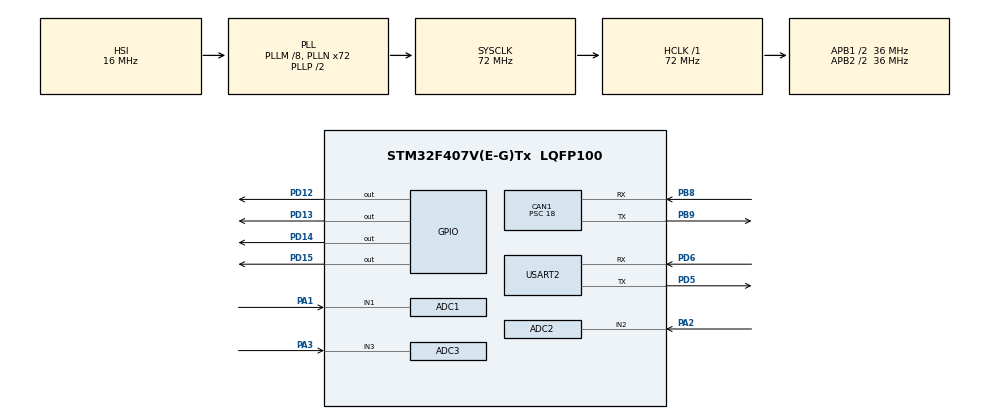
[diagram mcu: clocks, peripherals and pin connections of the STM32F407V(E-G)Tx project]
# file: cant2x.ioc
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ADC1.Channel-1\#ChannelRegularConversion=ADC_CHANNEL_1
ADC1.NbrOfConversionFlag=1
ADC1.Rank-1\#ChannelRegularConversion=1
ADC1.SamplingTime-1\#ChannelRegularConversion=ADC_SAMPLETIME_3CYCLES
ADC1.master=1
ADC2.Channel-1\#ChannelRegularConversion=ADC_CHANNEL_2
ADC2.NbrOfConversionFlag=1
ADC2.Rank-1\#ChannelRegularConversion=1
ADC2.SamplingTime-1\#ChannelRegularConversion=ADC_SAMPLETIME_3CYCLES
ADC3.Channel-2\#ChannelRegularConversion=ADC_CHANNEL_3
ADC3.NbrOfConversionFlag=1
ADC3.Rank-2\#ChannelRegularConversion=1
ADC3.SamplingTime-2\#ChannelRegularConversion=ADC_SAMPLETIME_3CYCLES
CAN1.CalculateBaudRate=666666
CAN1.CalculateTimeBit=1500
CAN1.CalculateTimeQuantum=500.0
CAN1.Prescaler=18
Mcu.Family=STM32F4
Mcu.Name=STM32F407V(E-G)Tx
Mcu.Package=LQFP100
NVIC.CAN1_RX0_IRQn=true\:0\:0\:false\:false\:true\:true\:true\:true
NVIC.PriorityGroup=NVIC_PRIORITYGROUP_0
PA1.Signal=ADCx_IN1
PA2.Signal=ADCx_IN2
PA3.Signal=ADCx_IN3
PB8.Mode=CAN_Activate
PB8.Signal=CAN1_RX
PB9.Mode=CAN_Activate
PB9.Signal=CAN1_TX
PD12.Signal=GPIO_Output
PD13.Signal=GPIO_Output
PD14.Signal=GPIO_Output
PD15.Signal=GPIO_Output
PD5.Mode=Asynchronous
PD5.Signal=USART2_TX
PD6.Mode=Asynchronous
PD6.Signal=USART2_RX
ProjectManager.HeapSize=0x200
ProjectManager.StackSize=0x400
ProjectManager.TargetToolchain=STM32CubeIDE
RCC.48MHZClocksFreq_Value=20571428.57142857
RCC.AHBFreq_Value=72000000
RCC.APB1CLKDivider=RCC_HCLK_DIV2
RCC.APB1Freq_Value=36000000
RCC.APB1TimFreq_Value=72000000
RCC.APB2CLKDivider=RCC_HCLK_DIV2
RCC.APB2Freq_Value=36000000
RCC.APB2TimFreq_Value=72000000
RCC.CortexFreq_Value=72000000
RCC.HCLKFreq_Value=72000000
RCC.HSE_VALUE=8000000
RCC.HSI_VALUE=16000000
RCC.LSE_VALUE=32768
RCC.PLLM=8
RCC.PLLN=72
RCC.PLLQ=7
RCC.SYSCLKFreq_VALUE=72000000
RCC.SYSCLKSource=RCC_SYSCLKSOURCE_PLLCLK
RCC.VCOOutputFreq_Value=144000000
SH.ADCx_IN1.0=ADC1_IN1,IN1
SH.ADCx_IN1.1=ADC3_IN1
SH.ADCx_IN2.0=ADC3_IN2
SH.ADCx_IN2.1=ADC2_IN2,IN2
SH.ADCx_IN3.0=ADC3_IN3,IN3
USART2.VirtualMode=VM_ASYNC
board=STM32F407G-DISC1

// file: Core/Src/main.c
/* /* Includes ------------------------------------------------------------------*/
#include "main.h"

ADC_HandleTypeDef hadc1;
ADC_HandleTypeDef hadc2;
ADC_HandleTypeDef hadc3;

CAN_HandleTypeDef hcan1;

UART_HandleTypeDef huart2;

/* USER CODE BEGIN PV */
int flame_Flag = 0, mq2_Flag = 0, lm35_Flag = 0;
CAN_TxHeaderTypeDef TxHeader;
uint8_t TxData[8];
uint32_t TxMailBox;
/* USER CODE END PV */

void MX_GPIO_Init(void);
void SystemClock_Config(void);
void MX_ADC1_Init(void);
void MX_ADC2_Init(void);
void MX_ADC3_Init(void);
void MX_CAN1_Init(void);
void MX_USART2_UART_Init(void);

int main(void)
{

  /* MCU Configuration--------------------------------------------------------*/

  /* Reset of all peripherals, Initializes the Flash interface and the Systick. */
  HAL_Init();

  /* Configure the system clock */
  SystemClock_Config();

  /* Initialize all configured peripherals */
  MX_GPIO_Init();
  MX_ADC1_Init();
  MX_ADC2_Init();
  MX_ADC3_Init();
  MX_CAN1_Init();
  MX_USART2_UART_Init();
  /* USER CODE BEGIN 2 */
  HAL_CAN_Start(&hcan1);
  HAL_CAN_ActivateNotification(&hcan1, CAN_IT_RX_FIFO0_MSG_PENDING);
  HAL_Delay(100);
  HAL_Delay(100);
  TxHeader.DLC=8;
  TxHeader.RTR=CAN_RTR_DATA;
  TxHeader.IDE=CAN_ID_STD;
  TxHeader.ExtId=0x0;
  TxHeader.StdId=0x0AA;
  TxHeader.TransmitGlobalTime=DISABLE;
  /* USER CODE END 2 */

  /* Infinite loop */
  while (1)
  {

    /* USER CODE BEGIN 3 */
	   HAL_ADC_Start_IT(&hadc1); // Start ADC conversion for flame sensor
	    HAL_ADC_Start_IT(&hadc2); // Start ADC conversion for MQ2 sensor
	    HAL_ADC_Start_IT(&hadc3); // Start ADC conversion for LM35 sensor

	    if(flame_Flag == 1){
	        TxData[0] = 'F' ;
	        if(HAL_CAN_AddTxMessage(&hcan1, &TxHeader, TxData, &TxMailBox) != HAL_OK)
	        {
	            HAL_UART_Transmit(&huart2,(uint8_t*)"Fire detected\r\n", 15, HAL_MAX_DELAY);
	            Error_Handler();
	        }
	        HAL_Delay(50);
	        flame_Flag = 0;
	    }
	    else
	    {
	        TxData[0] = 'N';
	        if(HAL_CAN_AddTxMessage(&hcan1, &TxHeader, TxData, &TxMailBox) != HAL_OK)
	        {
	            HAL_UART_Transmit(&huart2,(uint8_t*)"No fire\r\n", 10, HAL_MAX_DELAY);
	            Error_Handler();
	        }
	        HAL_Delay(50);
	    }

	    if(mq2_Flag == 1){
	        TxData[1] = 'G' ;
	        if(HAL_CAN_AddTxMessage(&hcan1, &TxHeader, TxData, &TxMailBox) != HAL_OK)
	        {
	            HAL_UART_Transmit(&huart2,(uint8_t*)"Gas detected\r\n", 14, HAL_MAX_DELAY);
	            Error_Handler();
	        }
	        HAL_Delay(50);
	        mq2_Flag = 0;
	    }
	    else
	    {
	        TxData[1] = 'N';
	        if(HAL_CAN_AddTxMessage(&hcan1, &TxHeader, TxData, &TxMailBox) != HAL_OK)
	        {
	            HAL_UART_Transmit(&huart2,(uint8_t*)"No gas\r\n", 9, HAL_MAX_DELAY);
	            Error_Handler();
	        }
	        HAL_Delay(50);
	    }

	    if(lm35_Flag == 1){
	        TxData[2] = 'T' ;
	        if(HAL_CAN_AddTxMessage(&hcan1, &TxHeader, TxData, &TxMailBox) != HAL_OK)
	        {
	            HAL_UART_Transmit(&huart2,(uint8_t*)"Temperature detected\r\n", 22, HAL_MAX_DELAY);
	            Error_Handler();
	        }
	        HAL_Delay(50);
	        lm35_Flag = 0;
	    }
	    else
	    {
	        TxData[2] = 'N';
	        if(HAL_CAN_AddTxMessage(&hcan1, &TxHeader, TxData, &TxMailBox) != HAL_OK)
	        {
	            HAL_UART_Transmit(&huart2,(uint8_t*)"No temperature\r\n", 16, HAL_MAX_DELAY);
	            Error_Handler();
	        }
	        HAL_Delay(50);
	    }
	}

    // Similar logic for other sensors goes here...

    /* USER CODE END 3 */
  }

void SystemClock_Config(void)
{
  RCC_OscInitTypeDef RCC_OscInitStruct = {0};
  RCC_ClkInitTypeDef RCC_ClkInitStruct = {0};

  /** Configure the main internal regulator output voltage
  */
  __HAL_RCC_PWR_CLK_ENABLE();
  __HAL_PWR_VOLTAGESCALING_CONFIG(PWR_REGULATOR_VOLTAGE_SCALE1);

  /** Initializes the RCC Oscillators according to the specified parameters
  * in the RCC_OscInitTypeDef structure.
  */
  RCC_OscInitStruct.OscillatorType = RCC_OSCILLATORTYPE_HSI;
  RCC_OscInitStruct.HSIState = RCC_HSI_ON;
  RCC_OscInitStruct.HSICalibrationValue = RCC_HSICALIBRATION_DEFAULT;
  RCC_OscInitStruct.PLL.PLLState = RCC_PLL_ON;
  RCC_OscInitStruct.PLL.PLLSource = RCC_PLLSOURCE_HSI;
  RCC_OscInitStruct.PLL.PLLM = 8;
  RCC_OscInitStruct.PLL.PLLN = 72;
  RCC_OscInitStruct.PLL.PLLP = RCC_PLLP_DIV2;
  RCC_OscInitStruct.PLL.PLLQ = 7;
  if (HAL_RCC_OscConfig(&RCC_OscInitStruct) != HAL_OK)
  {
    Error_Handler();
  }

  /** Initializes the CPU, AHB and APB buses clocks
  */
  RCC_ClkInitStruct.ClockType = RCC_CLOCKTYPE_HCLK|RCC_CLOCKTYPE_SYSCLK
                              |RCC_CLOCKTYPE_PCLK1|RCC_CLOCKTYPE_PCLK2;
  RCC_ClkInitStruct.SYSCLKSource = RCC_SYSCLKSOURCE_PLLCLK;
  RCC_ClkInitStruct.AHBCLKDivider = RCC_SYSCLK_DIV1;
  RCC_ClkInitStruct.APB1CLKDivider = RCC_HCLK_DIV2;
  RCC_ClkInitStruct.APB2CLKDivider = RCC_HCLK_DIV2;

  if (HAL_RCC_ClockConfig(&RCC_ClkInitStruct, FLASH_LATENCY_2) != HAL_OK)
  {
    Error_Handler();
  }
}

void MX_ADC1_Init(void)
{
	 ADC_ChannelConfTypeDef sConfig = {0};

	  /** Configure the global features of the ADC (Clock, Resolution, Data Alignment and number of conversion)
	  */
	  hadc1.Instance = ADC1;
	  hadc1.Init.ClockPrescaler = ADC_CLOCK_SYNC_PCLK_DIV2;
	  hadc1.Init.Resolution = ADC_RESOLUTION_12B;
	  hadc1.Init.ScanConvMode = DISABLE;
	  hadc1.Init.ContinuousConvMode = DISABLE;
	  hadc1.Init.DiscontinuousConvMode = DISABLE;
	  hadc1.Init.ExternalTrigConvEdge = ADC_EXTERNALTRIGCONVEDGE_NONE;
	  hadc1.Init.ExternalTrigConv = ADC_SOFTWARE_START;
	  hadc1.Init.DataAlign = ADC_DATAALIGN_RIGHT;
	  hadc1.Init.NbrOfConversion = 1;
	  hadc1.Init.DMAContinuousRequests = DISABLE;
	  hadc1.Init.EOCSelection = ADC_EOC_SINGLE_CONV;
	  if (HAL_ADC_Init(&hadc1) != HAL_OK)
	  {
	    Error_Handler();
	  }

	  /** Configure for the selected ADC regular channel its corresponding rank in the sequencer and its sample time.
	  */
	  sConfig.Channel = ADC_CHANNEL_1;
	  sConfig.Rank = 1;
	  sConfig.SamplingTime = ADC_SAMPLETIME_3CYCLES;
	  if (HAL_ADC_ConfigChannel(&hadc1, &sConfig) != HAL_OK)
	  {
	    Error_Handler();
	  }
  /* ADC1 initialization code goes here... */

}

void MX_ADC2_Init(void)
{
	ADC_ChannelConfTypeDef sConfig = {0};
	hadc2.Instance = ADC2;
	  hadc2.Init.ClockPrescaler = ADC_CLOCK_SYNC_PCLK_DIV2;
	  hadc2.Init.Resolution = ADC_RESOLUTION_12B;
	  hadc2.Init.ScanConvMode = DISABLE;
	  hadc2.Init.ContinuousConvMode = DISABLE;
	  hadc2.Init.DiscontinuousConvMode = DISABLE;
	  hadc2.Init.ExternalTrigConvEdge = ADC_EXTERNALTRIGCONVEDGE_NONE;
	  hadc2.Init.ExternalTrigConv = ADC_SOFTWARE_START;
	  hadc2.Init.DataAlign = ADC_DATAALIGN_RIGHT;
	  hadc2.Init.NbrOfConversion = 1;
	  hadc2.Init.DMAContinuousRequests = DISABLE;
	  hadc2.Init.EOCSelection = ADC_EOC_SINGLE_CONV;
	  if (HAL_ADC_Init(&hadc2) != HAL_OK)
	  {
	    Error_Handler();
	  }

	  /** Configure for the selected ADC regular channel its corresponding rank in the sequencer and its sample time.
	  */
	  sConfig.Channel = ADC_CHANNEL_2;
	  sConfig.Rank = 1;
	  sConfig.SamplingTime = ADC_SAMPLETIME_3CYCLES;
	  if (HAL_ADC_ConfigChannel(&hadc2, &sConfig) != HAL_OK)
	  {
	    Error_Handler();
	  }
  /* ADC2 initialization code goes here... */

}

void MX_ADC3_Init(void)
{
	  ADC_ChannelConfTypeDef sConfig = {0};

	  /** Configure the global features of the ADC (Clock, Resolution, Data Alignment and number of conversion)
	  */
	  hadc3.Instance = ADC3;
	  hadc3.Init.ClockPrescaler = ADC_CLOCK_SYNC_PCLK_DIV2;
	  hadc3.Init.Resolution = ADC_RESOLUTION_12B;
	  hadc3.Init.ScanConvMode = DISABLE;
	  hadc3.Init.ContinuousConvMode = DISABLE;
	  hadc3.Init.DiscontinuousConvMode = DISABLE;
	  hadc3.Init.ExternalTrigConvEdge = ADC_EXTERNALTRIGCONVEDGE_NONE;
	  hadc3.Init.ExternalTrigConv = ADC_SOFTWARE_START;
	  hadc3.Init.DataAlign = ADC_DATAALIGN_RIGHT;
	  hadc3.Init.NbrOfConversion = 1;
	  hadc3.Init.DMAContinuousRequests = DISABLE;
	  hadc3.Init.EOCSelection = ADC_EOC_SINGLE_CONV;
	  if (HAL_ADC_Init(&hadc3) != HAL_OK)
	  {
	    Error_Handler();
	  }

	  /** Configure for the selected ADC regular channel its corresponding rank in the sequencer and its sample time.
	  */
	  sConfig.Channel = ADC_CHANNEL_3;
	  sConfig.Rank = 1;
	  sConfig.SamplingTime = ADC_SAMPLETIME_3CYCLES;
	  if (HAL_ADC_ConfigChannel(&hadc3, &sConfig) != HAL_OK)
	  {
	    Error_Handler();
	  }
  /* ADC3 initialization code goes here... */

}

void MX_CAN1_Init(void)
{
	hcan1.Instance = CAN1;
	  hcan1.Init.Prescaler = 18;
	  hcan1.Init.Mode = CAN_MODE_NORMAL;
	  hcan1.Init.SyncJumpWidth = CAN_SJW_1TQ;
	  hcan1.Init.TimeSeg1 = CAN_BS1_2TQ;
	  hcan1.Init.TimeSeg2 = CAN_BS2_1TQ;
	  hcan1.Init.TimeTriggeredMode = DISABLE;
	  hcan1.Init.AutoBusOff = DISABLE;
	  hcan1.Init.AutoWakeUp = DISABLE;
	  hcan1.Init.AutoRetransmission = DISABLE;
	  hcan1.Init.ReceiveFifoLocked = DISABLE;
	  hcan1.Init.TransmitFifoPriority = DISABLE;
	  if (HAL_CAN_Init(&hcan1) != HAL_OK)
	  {
	    Error_Handler();
	  }
	  /* USER CODE BEGIN CAN1_Init 2 */
	   CAN_FilterTypeDef canFilterConfig;
	   canFilterConfig.FilterActivation=CAN_FILTER_ENABLE;
	   canFilterConfig.SlaveStartFilterBank=14;
	   canFilterConfig.FilterBank=2;
	   canFilterConfig.FilterFIFOAssignment=CAN_RX_FIFO0;
	   canFilterConfig.FilterScale=CAN_FILTERSCALE_32BIT;
	   canFilterConfig.FilterMode=CAN_FILTERMODE_IDMASK;
	   canFilterConfig.FilterMaskIdLow=0x0000;
	   canFilterConfig.FilterMaskIdHigh=0xFF00;
	   canFilterConfig.FilterIdLow=0x0000;
	   canFilterConfig.FilterIdHigh=0x1500;
	   HAL_CAN_ConfigFilter(&hcan1, &canFilterConfig);
  /* CAN1 initialization code goes here... */

}

void MX_USART2_UART_Init(void)
{  huart2.Instance = USART2;
huart2.Init.BaudRate = 9600;
huart2.Init.WordLength = UART_WORDLENGTH_8B;
huart2.Init.StopBits = UART_STOPBITS_1;
huart2.Init.Parity = UART_PARITY_NONE;
huart2.Init.Mode = UART_MODE_TX_RX;
huart2.Init.HwFlowCtl = UART_HWCONTROL_NONE;
huart2.Init.OverSampling = UART_OVERSAMPLING_16;
if (HAL_UART_Init(&huart2) != HAL_OK)
{
  Error_Handler();
}

  /* USART2 initialization code goes here... */

}

void MX_GPIO_Init(void)
{GPIO_InitTypeDef GPIO_InitStruct = {0};

  /* GPIO Ports Clock Enable */
  __HAL_RCC_GPIOH_CLK_ENABLE();
  __HAL_RCC_GPIOA_CLK_ENABLE();
  __HAL_RCC_GPIOD_CLK_ENABLE();
  __HAL_RCC_GPIOB_CLK_ENABLE();

  /*Configure GPIO pin Output Level */
  HAL_GPIO_WritePin(GPIOD, GPIO_PIN_12|GPIO_PIN_13|GPIO_PIN_14|GPIO_PIN_15, GPIO_PIN_RESET);

  /*Configure GPIO pins : PD12 PD13 PD14 PD15 */
  GPIO_InitStruct.Pin = GPIO_PIN_12|GPIO_PIN_13|GPIO_PIN_14|GPIO_PIN_15;
  GPIO_InitStruct.Mode = GPIO_MODE_OUTPUT_PP;
  GPIO_InitStruct.Pull = GPIO_NOPULL;
  GPIO_InitStruct.Speed = GPIO_SPEED_FREQ_LOW;
  HAL_GPIO_Init(GPIOD, &GPIO_InitStruct);
  /* GPIO initialization code goes here... */
}

/* USER CODE BEGIN 4 */
void HAL_ADC_ConvCpltCallback(ADC_HandleTypeDef* hadc)
{
    if(hadc->Instance == ADC1)
    {
        uint32_t flame = HAL_ADC_GetValue(&hadc1);
        HAL_ADC_Stop(&hadc1);

        if(flame < 500){
            flame_Flag = 1;
            HAL_GPIO_WritePin(GPIOD, GPIO_PIN_12, GPIO_PIN_SET);    // Yellow LED
        }
        else{
            flame_Flag = 0;
            HAL_GPIO_WritePin(GPIOD, GPIO_PIN_12, GPIO_PIN_RESET);
        }
    }
    else if(hadc->Instance == ADC2){
        uint32_t mq2 = HAL_ADC_GetValue(&hadc2);
        HAL_ADC_Stop(&hadc2);

        if(mq2 > 200){ // Adjust the condition based on your sensor readings
            mq2_Flag = 1;
            HAL_GPIO_WritePin(GPIOD, GPIO_PIN_13, GPIO_PIN_SET);    // Orange LED
        }
        else{
            mq2_Flag = 0;
            HAL_GPIO_WritePin(GPIOD, GPIO_PIN_13, GPIO_PIN_RESET);
        }
    }
    else{
        uint32_t lm35 = HAL_ADC_GetValue(&hadc3);
        float temperature = lm35*0.086*100;

        HAL_ADC_Stop(&hadc3);

        if(temperature > 60){ // Adjust the condition based on your sensor readings
            lm35_Flag = 1;
            HAL_GPIO_WritePin(GPIOD, GPIO_PIN_14, GPIO_PIN_SET);    // Red LED
        }
        else{
            lm35_Flag = 0;
            HAL_GPIO_WritePin(GPIOD, GPIO_PIN_14, GPIO_PIN_RESET);
        }
    }
}

/* USER CODE BEGIN MX_GPIO_Init_1 */
/* USER CODE END MX_GPIO_Init_1 */

  /* GPIO Ports Clock Enable */

  /*Configure GPIO pin Output Level */

  /*Configure GPIO pins : PD12 PD13 PD14 PD15 */

/* USER CODE END 4 */

void Error_Handler(void)
{
  while(1)
  {
  }
}

/************************ (C) COPYRIGHT STMicroelectronics *****END OF FILE****/
